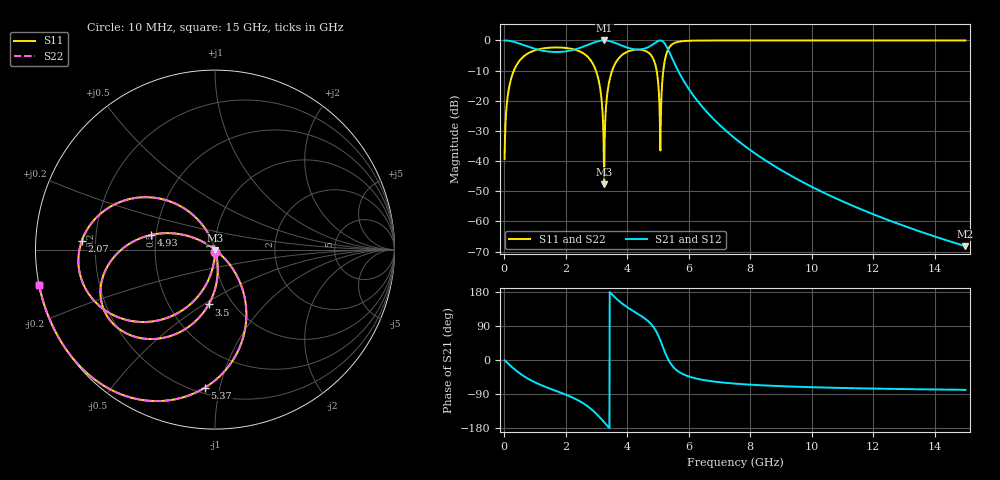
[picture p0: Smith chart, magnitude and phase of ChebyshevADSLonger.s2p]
! Created Thu Dec 17 11:37:09 2020
# ghz S ri R 50
! 2 Port Network Data from SP1.SP block
! freq  reS11  imS11  reS21  imS21  reS12  imS12  reS22  imS22
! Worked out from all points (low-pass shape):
!   1500 points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, 10 MHz to 15 GHz, reference 50 ohm
!   highest |S21| = 0.00 dB at 3.25 GHz (marker M1); lowest = -68.2 dB at 15 GHz (marker M2)
!   |S21| within 3 dB of the highest: start of sweep to 1.083 GHz; 2.287 GHz to 5.327 GHz (3.041 GHz wide, 79.9 % of centre)
!   lowest |S11| = -47.7 dB at 3.25 GHz (marker M3), VSWR 1.01, Z = 50.1 - j0.399 ohm
!   |S11| at or under -10 dB: start of sweep to 310.9 MHz; 2.981 GHz to 3.508 GHz (527.5 MHz wide, 16.3 % of centre); 4.956 GHz to 5.172 GHz (216.8 MHz wide, 4.28 % of centre)
!   |S22| runs from -47.7 to 0.0 dB; largest |S21 - S12| = 0
!   S11 on the Smith chart (normalised r, x): 10 MHz: 1.00, -0.02; 2.07 GHz: 0.15, +0.03; 3.5 GHz: 0.78, -0.52; 4.93 GHz: 0.47, +0.09; 5.37 GHz: 0.24, -0.90; 15 GHz: 0.00, -0.10
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0.01  -0.000145 -0.0109  0.9999 -0.0134  0.9999 -0.0134  -0.000145 -0.0109
0.16  -0.0359 -0.1668  0.9633 -0.2071  0.9633 -0.2071  -0.0359 -0.1668
0.45  -0.2278 -0.3641  0.7656 -0.4789  0.7656 -0.4789  -0.2278 -0.3641
1.21  -0.6703 -0.2885  0.2703 -0.628  0.2703 -0.628  -0.6703 -0.2885
2.07  -0.7421 0.049  -0.0441 -0.6671  -0.0441 -0.6671  -0.7421 0.049
2.51  -0.5943 0.2322  -0.2802 -0.7172  -0.2802 -0.7172  -0.5943 0.2322
3.01  -0.1706 0.2289  -0.7684 -0.5727  -0.7684 -0.5727  -0.1706 0.2289
3.25  0.00112 -0.00398  -0.9627 -0.2704  -0.9627 -0.2704  0.00112 -0.00398
3.38  0.0114 -0.1683  -0.9834 -0.0665  -0.9834 -0.0665  0.0114 -0.1683
3.5  -0.0353 -0.3054  -0.9453 0.1093  -0.9453 0.1093  -0.0353 -0.3054
3.9  -0.3503 -0.4984  -0.6488 0.456  -0.6488 0.456  -0.3503 -0.4984
4.43  -0.6235 -0.3237  -0.3279 0.6316  -0.3279 0.6316  -0.6235 -0.3237
4.93  -0.3578 0.0814  0.2063 0.9071  0.2063 0.9071  -0.3578 0.0814
5.01  -0.1702 0.0811  0.4223 0.8866  0.4223 0.8866  -0.1702 0.0811
5.1  0.058 -0.054  0.6793 0.7296  0.6793 0.7296  0.058 -0.054
5.21  0.1735 -0.3961  0.8259 0.3618  0.8259 0.3618  0.1735 -0.3961
5.37  -0.0557 -0.7688  0.6354 -0.046  0.6354 -0.046  -0.0557 -0.7688
5.98  -0.6708 -0.7234  0.1199 -0.1112  0.1199 -0.1112  -0.6708 -0.7234
7.51  -0.8857 -0.4636  0.011 -0.021  0.011 -0.021  -0.8857 -0.4636
10.01  -0.9501 -0.3119  0.00117 -0.00356  0.00117 -0.00356  -0.9501 -0.3119
12.51  -0.9709 -0.2395  0.000251 -0.00102  0.000251 -0.00102  -0.9709 -0.2395
15  -0.9807 -0.1956  7.63e-05 -0.000383  7.63e-05 -0.000383  -0.9807 -0.1956
